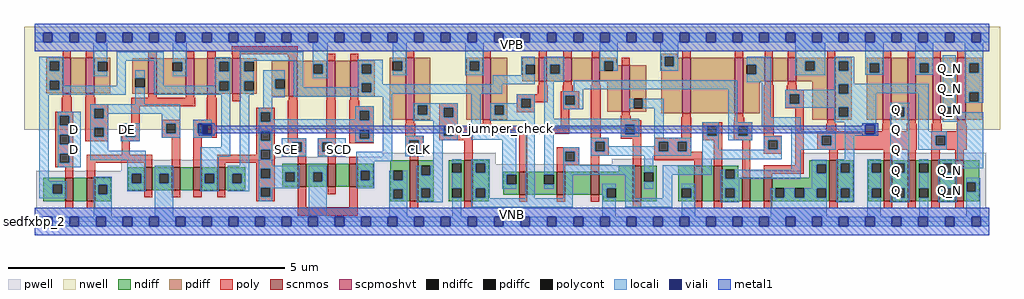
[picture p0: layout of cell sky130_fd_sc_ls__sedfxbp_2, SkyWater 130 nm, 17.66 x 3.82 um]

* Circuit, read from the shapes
.subckt sky130_fd_sc_ls__sedfxbp_2 CLK D DE SCD SCE VGND VNB VPB VPWR Q Q_N
XM1 n1 D n2 VNB sky130_fd_pr__nfet_01v8 w=0.42 l=0.15
XM2 VGND DE n1 VNB sky130_fd_pr__nfet_01v8 w=0.42 l=0.15
XM3 VGND DE n3 VNB sky130_fd_pr__nfet_01v8 w=0.42 l=0.15
XM4 n4 n3 VGND VNB sky130_fd_pr__nfet_01v8 w=0.42 l=0.15
XM5 n2 n5 n4 VNB sky130_fd_pr__nfet_01v8 w=0.42 l=0.15
XM6 n6 n7 n2 VNB sky130_fd_pr__nfet_01v8 w=0.42 l=0.15
XM7 VGND SCE n7 VNB sky130_fd_pr__nfet_01v8 w=0.42 l=0.15
XM8 n8 SCD VGND VNB sky130_fd_pr__nfet_01v8 w=0.42 l=0.15
XM9 n6 SCE n8 VNB sky130_fd_pr__nfet_01v8 w=0.42 l=0.15
XM10 n9 CLK VGND VNB sky130_fd_pr__nfet_01v8 w=0.74 l=0.15
XM11 n10 n9 VGND VNB sky130_fd_pr__nfet_01v8 w=0.74 l=0.15
XM12 n11 n9 n6 VNB sky130_fd_pr__nfet_01v8 w=0.42 l=0.15
XM13 n12 n10 n11 VNB sky130_fd_pr__nfet_01v8 w=0.42 l=0.15
XM14 VGND n13 n12 VNB sky130_fd_pr__nfet_01v8 w=0.42 l=0.15
XM15 n13 n11 VGND VNB sky130_fd_pr__nfet_01v8 w=0.64 l=0.15
XM16 n14 n13 VGND VNB sky130_fd_pr__nfet_01v8 w=0.64 l=0.15
XM17 n15 n10 n14 VNB sky130_fd_pr__nfet_01v8 w=0.64 l=0.15
XM18 n16 n9 n15 VNB sky130_fd_pr__nfet_01v8 w=0.42 l=0.15
XM19 VGND n5 n16 VNB sky130_fd_pr__nfet_01v8 w=0.42 l=0.15
XM20 n5 n15 VGND VNB sky130_fd_pr__nfet_01v8 w=0.74 l=0.15
XM21 Q n15 VGND VNB sky130_fd_pr__nfet_01v8 w=0.74 l=0.15 m=2
XM22 Q_N n5 VGND VNB sky130_fd_pr__nfet_01v8 w=0.74 l=0.15 m=2
XM23 n17 D n2 VPB sky130_fd_pr__pfet_01v8_hvt w=0.64 l=0.15
XM24 VPWR n3 n17 VPB sky130_fd_pr__pfet_01v8_hvt w=0.64 l=0.15
XM25 VPWR DE n3 VPB sky130_fd_pr__pfet_01v8_hvt w=0.64 l=0.15
XM26 n18 DE VPWR VPB sky130_fd_pr__pfet_01v8_hvt w=0.64 l=0.15
XM27 n2 n5 n18 VPB sky130_fd_pr__pfet_01v8_hvt w=0.64 l=0.15
XM28 n6 SCE n2 VPB sky130_fd_pr__pfet_01v8_hvt w=0.64 l=0.15
XM29 VPWR SCE n7 VPB sky130_fd_pr__pfet_01v8_hvt w=0.64 l=0.15
XM30 n19 SCD VPWR VPB sky130_fd_pr__pfet_01v8_hvt w=0.64 l=0.15
XM31 n6 n7 n19 VPB sky130_fd_pr__pfet_01v8_hvt w=0.64 l=0.15
XM32 n9 CLK VPWR VPB sky130_fd_pr__pfet_01v8_hvt w=1.12 l=0.15
XM33 n10 n9 VPWR VPB sky130_fd_pr__pfet_01v8_hvt w=1.12 l=0.15
XM34 n11 n10 n6 VPB sky130_fd_pr__pfet_01v8_hvt w=0.42 l=0.15
XM35 n20 n9 n11 VPB sky130_fd_pr__pfet_01v8_hvt w=0.42 l=0.15
XM36 VPWR n13 n20 VPB sky130_fd_pr__pfet_01v8_hvt w=0.42 l=0.15
XM37 n13 n11 VPWR VPB sky130_fd_pr__pfet_01v8_hvt w=0.84 l=0.15
XM38 n21 n13 VPWR VPB sky130_fd_pr__pfet_01v8_hvt w=1 l=0.15
XM39 n15 n9 n21 VPB sky130_fd_pr__pfet_01v8_hvt w=1 l=0.15
XM40 n22 n10 n15 VPB sky130_fd_pr__pfet_01v8_hvt w=0.42 l=0.15
XM41 VPWR n5 n22 VPB sky130_fd_pr__pfet_01v8_hvt w=0.42 l=0.15
XM42 n5 n15 VPWR VPB sky130_fd_pr__pfet_01v8_hvt w=1.12 l=0.15
XM43 Q n15 VPWR VPB sky130_fd_pr__pfet_01v8_hvt w=1.12 l=0.15 m=2
XM44 Q_N n5 VPWR VPB sky130_fd_pr__pfet_01v8_hvt w=1.12 l=0.15 m=2
.ends

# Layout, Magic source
magic
tech sky130A
magscale 1 2
<< nwell >>
rect -38 332 3494 704
<< pwell >>
rect 1261 235 1669 248
rect 870 223 1669 235
rect 314 207 1669 223
rect 2089 207 2572 228
rect 314 184 2572 207
rect 2777 184 3445 248
rect 6 49 3445 184
rect 0 0 3456 49
<< scnmos >>
rect 111 74 141 158
rect 189 74 219 158
rect 397 113 427 197
rect 497 113 527 197
rect 575 113 605 197
rect 661 113 691 197
rect 953 125 983 209
rect 1061 125 1091 209
rect 1139 125 1169 209
rect 1358 74 1388 222
rect 1556 74 1586 222
rect 1754 97 1784 181
rect 1890 97 1920 181
rect 2013 97 2043 181
rect 2165 74 2195 202
rect 2387 74 2417 202
rect 2459 74 2489 202
rect 2561 74 2591 158
rect 2639 74 2669 158
rect 2876 74 2906 222
rect 3074 74 3104 222
rect 3160 74 3190 222
rect 3246 74 3276 222
rect 3332 74 3362 222
<< scpmoshvt >>
rect 102 464 132 592
rect 186 464 216 592
rect 412 462 442 590
rect 548 462 578 590
rect 626 462 656 590
rect 716 462 746 590
rect 920 453 950 581
rect 1058 453 1088 581
rect 1142 453 1172 581
rect 1344 368 1374 592
rect 1622 368 1652 592
rect 1824 508 1854 592
rect 1914 508 1944 592
rect 2016 508 2046 592
rect 2125 398 2155 566
rect 2344 392 2374 592
rect 2535 392 2565 592
rect 2642 508 2672 592
rect 2726 508 2756 592
rect 2868 368 2898 592
rect 3070 368 3100 592
rect 3160 368 3190 592
rect 3250 368 3280 592
rect 3340 368 3370 592
<< ndiff >>
rect 340 172 397 197
rect 32 134 111 158
rect 32 100 66 134
rect 100 100 111 134
rect 32 74 111 100
rect 141 74 189 158
rect 219 133 276 158
rect 219 99 230 133
rect 264 99 276 133
rect 340 138 352 172
rect 386 138 397 172
rect 340 113 397 138
rect 427 172 497 197
rect 427 138 452 172
rect 486 138 497 172
rect 427 113 497 138
rect 527 113 575 197
rect 605 172 661 197
rect 605 138 616 172
rect 650 138 661 172
rect 605 113 661 138
rect 691 172 762 197
rect 691 138 716 172
rect 750 138 762 172
rect 691 113 762 138
rect 896 178 953 209
rect 896 144 908 178
rect 942 144 953 178
rect 896 125 953 144
rect 983 178 1061 209
rect 983 144 1008 178
rect 1042 144 1061 178
rect 983 125 1061 144
rect 1091 125 1139 209
rect 1169 184 1226 209
rect 1169 150 1180 184
rect 1214 150 1226 184
rect 1169 125 1226 150
rect 1287 184 1358 222
rect 1287 150 1299 184
rect 1333 150 1358 184
rect 219 74 276 99
rect 1287 116 1358 150
rect 1287 82 1299 116
rect 1333 82 1358 116
rect 1287 74 1358 82
rect 1388 202 1445 222
rect 1388 168 1399 202
rect 1433 168 1445 202
rect 1388 120 1445 168
rect 1388 86 1399 120
rect 1433 86 1445 120
rect 1388 74 1445 86
rect 1499 210 1556 222
rect 1499 176 1511 210
rect 1545 176 1556 210
rect 1499 120 1556 176
rect 1499 86 1511 120
rect 1545 86 1556 120
rect 1499 74 1556 86
rect 1586 210 1643 222
rect 1586 176 1597 210
rect 1631 176 1643 210
rect 2115 181 2165 202
rect 1586 120 1643 176
rect 1586 86 1597 120
rect 1631 86 1643 120
rect 1697 169 1754 181
rect 1697 135 1709 169
rect 1743 135 1754 169
rect 1697 97 1754 135
rect 1784 169 1890 181
rect 1784 135 1845 169
rect 1879 135 1890 169
rect 1784 97 1890 135
rect 1920 97 2013 181
rect 2043 120 2165 181
rect 2043 97 2070 120
rect 1586 74 1643 86
rect 2058 86 2070 97
rect 2104 86 2165 120
rect 2058 74 2165 86
rect 2195 178 2252 202
rect 2195 144 2206 178
rect 2240 144 2252 178
rect 2195 74 2252 144
rect 2330 120 2387 202
rect 2330 86 2342 120
rect 2376 86 2387 120
rect 2330 74 2387 86
rect 2417 74 2459 202
rect 2489 188 2546 202
rect 2489 154 2500 188
rect 2534 158 2546 188
rect 2803 208 2876 222
rect 2803 174 2831 208
rect 2865 174 2876 208
rect 2803 158 2876 174
rect 2534 154 2561 158
rect 2489 120 2561 154
rect 2489 86 2500 120
rect 2534 86 2561 120
rect 2489 74 2561 86
rect 2591 74 2639 158
rect 2669 120 2876 158
rect 2669 86 2680 120
rect 2714 86 2752 120
rect 2786 86 2831 120
rect 2865 86 2876 120
rect 2669 74 2876 86
rect 2906 210 2963 222
rect 2906 176 2917 210
rect 2951 176 2963 210
rect 2906 120 2963 176
rect 2906 86 2917 120
rect 2951 86 2963 120
rect 2906 74 2963 86
rect 3017 210 3074 222
rect 3017 176 3029 210
rect 3063 176 3074 210
rect 3017 120 3074 176
rect 3017 86 3029 120
rect 3063 86 3074 120
rect 3017 74 3074 86
rect 3104 210 3160 222
rect 3104 176 3115 210
rect 3149 176 3160 210
rect 3104 120 3160 176
rect 3104 86 3115 120
rect 3149 86 3160 120
rect 3104 74 3160 86
rect 3190 210 3246 222
rect 3190 176 3201 210
rect 3235 176 3246 210
rect 3190 120 3246 176
rect 3190 86 3201 120
rect 3235 86 3246 120
rect 3190 74 3246 86
rect 3276 210 3332 222
rect 3276 176 3287 210
rect 3321 176 3332 210
rect 3276 120 3332 176
rect 3276 86 3287 120
rect 3321 86 3332 120
rect 3276 74 3332 86
rect 3362 142 3419 222
rect 3362 108 3373 142
rect 3407 108 3419 142
rect 3362 74 3419 108
<< pdiff >>
rect 43 580 102 592
rect 43 546 55 580
rect 89 546 102 580
rect 43 510 102 546
rect 43 476 55 510
rect 89 476 102 510
rect 43 464 102 476
rect 132 464 186 592
rect 216 578 275 592
rect 216 544 229 578
rect 263 544 275 578
rect 216 464 275 544
rect 353 519 412 590
rect 353 485 365 519
rect 399 485 412 519
rect 353 462 412 485
rect 442 577 548 590
rect 442 543 501 577
rect 535 543 548 577
rect 442 462 548 543
rect 578 462 626 590
rect 656 578 716 590
rect 656 544 669 578
rect 703 544 716 578
rect 656 508 716 544
rect 656 474 669 508
rect 703 474 716 508
rect 656 462 716 474
rect 746 578 805 590
rect 2268 596 2326 608
rect 746 544 759 578
rect 793 544 805 578
rect 746 508 805 544
rect 746 474 759 508
rect 793 474 805 508
rect 746 462 805 474
rect 859 515 920 581
rect 859 481 871 515
rect 905 481 920 515
rect 859 453 920 481
rect 950 569 1058 581
rect 950 535 1009 569
rect 1043 535 1058 569
rect 950 453 1058 535
rect 1088 453 1142 581
rect 1172 569 1231 581
rect 1172 535 1185 569
rect 1219 535 1231 569
rect 1172 501 1231 535
rect 1172 467 1185 501
rect 1219 467 1231 501
rect 1172 453 1231 467
rect 1285 580 1344 592
rect 1285 546 1297 580
rect 1331 546 1344 580
rect 1285 368 1344 546
rect 1374 421 1433 592
rect 1563 580 1622 592
rect 1563 546 1575 580
rect 1609 546 1622 580
rect 1374 387 1387 421
rect 1421 387 1433 421
rect 1374 368 1433 387
rect 1563 368 1622 546
rect 1652 421 1711 592
rect 1765 567 1824 592
rect 1765 533 1777 567
rect 1811 533 1824 567
rect 1765 508 1824 533
rect 1854 568 1914 592
rect 1854 534 1867 568
rect 1901 534 1914 568
rect 1854 508 1914 534
rect 1944 508 2016 592
rect 2046 580 2107 592
rect 2046 546 2061 580
rect 2095 566 2107 580
rect 2095 546 2125 566
rect 2046 508 2125 546
rect 1652 387 1665 421
rect 1699 387 1711 421
rect 1652 368 1711 387
rect 2072 398 2125 508
rect 2155 444 2214 566
rect 2155 410 2168 444
rect 2202 410 2214 444
rect 2155 398 2214 410
rect 2268 562 2280 596
rect 2314 592 2326 596
rect 2314 562 2344 592
rect 2268 392 2344 562
rect 2374 392 2535 592
rect 2565 567 2642 592
rect 2565 533 2578 567
rect 2612 533 2642 567
rect 2565 508 2642 533
rect 2672 508 2726 592
rect 2756 580 2868 592
rect 2756 546 2790 580
rect 2824 546 2868 580
rect 2756 508 2868 546
rect 2565 392 2624 508
rect 2815 368 2868 508
rect 2898 580 2957 592
rect 2898 546 2911 580
rect 2945 546 2957 580
rect 2898 497 2957 546
rect 2898 463 2911 497
rect 2945 463 2957 497
rect 2898 414 2957 463
rect 2898 380 2911 414
rect 2945 380 2957 414
rect 2898 368 2957 380
rect 3011 573 3070 592
rect 3011 539 3023 573
rect 3057 539 3070 573
rect 3011 368 3070 539
rect 3100 414 3160 592
rect 3100 380 3113 414
rect 3147 380 3160 414
rect 3100 368 3160 380
rect 3190 573 3250 592
rect 3190 539 3203 573
rect 3237 539 3250 573
rect 3190 368 3250 539
rect 3280 414 3340 592
rect 3280 380 3293 414
rect 3327 380 3340 414
rect 3280 368 3340 380
rect 3370 573 3429 592
rect 3370 539 3383 573
rect 3417 539 3429 573
rect 3370 467 3429 539
rect 3370 433 3383 467
rect 3417 433 3429 467
rect 3370 368 3429 433
<< ndiffc >>
rect 66 100 100 134
rect 230 99 264 133
rect 352 138 386 172
rect 452 138 486 172
rect 616 138 650 172
rect 716 138 750 172
rect 908 144 942 178
rect 1008 144 1042 178
rect 1180 150 1214 184
rect 1299 150 1333 184
rect 1299 82 1333 116
rect 1399 168 1433 202
rect 1399 86 1433 120
rect 1511 176 1545 210
rect 1511 86 1545 120
rect 1597 176 1631 210
rect 1597 86 1631 120
rect 1709 135 1743 169
rect 1845 135 1879 169
rect 2070 86 2104 120
rect 2206 144 2240 178
rect 2342 86 2376 120
rect 2500 154 2534 188
rect 2831 174 2865 208
rect 2500 86 2534 120
rect 2680 86 2714 120
rect 2752 86 2786 120
rect 2831 86 2865 120
rect 2917 176 2951 210
rect 2917 86 2951 120
rect 3029 176 3063 210
rect 3029 86 3063 120
rect 3115 176 3149 210
rect 3115 86 3149 120
rect 3201 176 3235 210
rect 3201 86 3235 120
rect 3287 176 3321 210
rect 3287 86 3321 120
rect 3373 108 3407 142
<< pdiffc >>
rect 55 546 89 580
rect 55 476 89 510
rect 229 544 263 578
rect 365 485 399 519
rect 501 543 535 577
rect 669 544 703 578
rect 669 474 703 508
rect 759 544 793 578
rect 759 474 793 508
rect 871 481 905 515
rect 1009 535 1043 569
rect 1185 535 1219 569
rect 1185 467 1219 501
rect 1297 546 1331 580
rect 1575 546 1609 580
rect 1387 387 1421 421
rect 1777 533 1811 567
rect 1867 534 1901 568
rect 2061 546 2095 580
rect 1665 387 1699 421
rect 2168 410 2202 444
rect 2280 562 2314 596
rect 2578 533 2612 567
rect 2790 546 2824 580
rect 2911 546 2945 580
rect 2911 463 2945 497
rect 2911 380 2945 414
rect 3023 539 3057 573
rect 3113 380 3147 414
rect 3203 539 3237 573
rect 3293 380 3327 414
rect 3383 539 3417 573
rect 3383 433 3417 467
<< poly >>
rect 102 592 132 618
rect 186 592 216 618
rect 412 590 442 616
rect 548 590 578 616
rect 626 590 656 616
rect 713 605 953 635
rect 716 590 746 605
rect 917 596 953 605
rect 102 449 132 464
rect 186 449 216 464
rect 920 581 950 596
rect 1058 581 1088 607
rect 1142 581 1172 607
rect 1344 592 1374 618
rect 1622 592 1652 618
rect 1824 592 1854 618
rect 1914 592 1944 618
rect 2016 592 2046 618
rect 99 398 135 449
rect 183 424 219 449
rect 412 447 442 462
rect 548 447 578 462
rect 626 447 656 462
rect 183 408 267 424
rect 75 382 141 398
rect 75 348 91 382
rect 125 348 141 382
rect 75 314 141 348
rect 75 280 91 314
rect 125 280 141 314
rect 183 374 217 408
rect 251 374 267 408
rect 183 340 267 374
rect 351 417 581 447
rect 351 356 381 417
rect 623 369 659 447
rect 716 436 746 462
rect 920 438 950 453
rect 1058 438 1088 453
rect 1142 438 1172 453
rect 183 306 217 340
rect 251 306 267 340
rect 183 290 267 306
rect 315 340 381 356
rect 315 306 331 340
rect 365 306 381 340
rect 315 290 381 306
rect 461 353 527 369
rect 461 319 477 353
rect 511 319 527 353
rect 461 303 527 319
rect 75 246 141 280
rect 75 212 91 246
rect 125 212 141 246
rect 315 242 345 290
rect 75 196 141 212
rect 111 158 141 196
rect 189 212 427 242
rect 189 158 219 212
rect 397 197 427 212
rect 497 197 527 303
rect 575 353 659 369
rect 575 319 591 353
rect 625 319 659 353
rect 575 303 659 319
rect 803 395 869 411
rect 803 361 819 395
rect 853 361 869 395
rect 803 327 869 361
rect 575 197 605 303
rect 803 293 819 327
rect 853 293 869 327
rect 803 259 869 293
rect 803 242 819 259
rect 661 225 819 242
rect 853 225 869 259
rect 917 302 953 438
rect 1055 302 1091 438
rect 917 286 983 302
rect 917 252 933 286
rect 967 252 983 286
rect 917 236 983 252
rect 1025 286 1091 302
rect 1025 252 1041 286
rect 1075 252 1091 286
rect 1139 417 1175 438
rect 1139 401 1227 417
rect 1139 367 1177 401
rect 1211 367 1227 401
rect 1465 412 1531 428
rect 1465 378 1481 412
rect 1515 378 1531 412
rect 1139 333 1227 367
rect 1344 353 1374 368
rect 1139 299 1177 333
rect 1211 299 1227 333
rect 1139 283 1227 299
rect 1341 310 1377 353
rect 1465 347 1531 378
rect 2125 566 2155 592
rect 1824 493 1854 508
rect 1914 493 1944 508
rect 2016 493 2046 508
rect 1821 461 1857 493
rect 1911 472 1947 493
rect 1745 445 1857 461
rect 1745 411 1761 445
rect 1795 431 1857 445
rect 1905 456 1971 472
rect 1795 411 1811 431
rect 1745 395 1811 411
rect 1905 422 1921 456
rect 1955 422 1971 456
rect 1905 406 1971 422
rect 1622 353 1652 368
rect 1619 347 1655 353
rect 1905 347 1935 406
rect 1465 344 1935 347
rect 1465 310 1481 344
rect 1515 317 1935 344
rect 1515 310 1586 317
rect 1341 294 1407 310
rect 1465 294 1586 310
rect 1025 236 1091 252
rect 1341 260 1357 294
rect 1391 260 1407 294
rect 1341 244 1407 260
rect 661 212 869 225
rect 661 197 691 212
rect 803 191 869 212
rect 953 209 983 236
rect 1061 209 1091 236
rect 1139 209 1169 235
rect 1358 222 1388 244
rect 1556 222 1586 294
rect 803 157 819 191
rect 853 157 869 191
rect 803 123 869 157
rect 397 87 427 113
rect 497 87 527 113
rect 575 87 605 113
rect 661 87 691 113
rect 803 89 819 123
rect 853 89 869 123
rect 111 48 141 74
rect 189 48 219 74
rect 803 73 869 89
rect 953 51 983 125
rect 1061 99 1091 125
rect 1139 51 1169 125
rect 1754 181 1784 317
rect 2013 304 2049 493
rect 2344 592 2374 618
rect 2535 592 2565 618
rect 2642 592 2672 618
rect 2726 592 2756 618
rect 2868 592 2898 618
rect 3070 592 3100 618
rect 3160 592 3190 618
rect 3250 592 3280 618
rect 3340 592 3370 618
rect 2125 383 2155 398
rect 2642 493 2672 508
rect 2726 493 2756 508
rect 2122 366 2158 383
rect 2344 377 2374 392
rect 2535 377 2565 392
rect 2122 350 2195 366
rect 2122 316 2138 350
rect 2172 316 2195 350
rect 2013 288 2079 304
rect 2122 300 2195 316
rect 2341 304 2377 377
rect 2532 360 2568 377
rect 1890 253 1971 269
rect 1890 219 1921 253
rect 1955 219 1971 253
rect 1890 203 1971 219
rect 2013 254 2029 288
rect 2063 254 2079 288
rect 2013 238 2079 254
rect 1890 181 1920 203
rect 2013 181 2043 238
rect 2165 202 2195 300
rect 2243 288 2377 304
rect 2419 344 2489 360
rect 2419 310 2435 344
rect 2469 310 2489 344
rect 2419 294 2489 310
rect 2531 344 2597 360
rect 2531 310 2547 344
rect 2581 310 2597 344
rect 2531 294 2597 310
rect 2639 311 2675 493
rect 2723 476 2759 493
rect 2717 460 2783 476
rect 2717 426 2733 460
rect 2767 426 2783 460
rect 2717 410 2783 426
rect 2639 295 2705 311
rect 2243 254 2259 288
rect 2293 254 2327 288
rect 2361 254 2377 288
rect 2243 252 2377 254
rect 2243 222 2417 252
rect 2387 202 2417 222
rect 2459 202 2489 294
rect 953 21 1169 51
rect 1358 48 1388 74
rect 1556 48 1586 74
rect 1754 71 1784 97
rect 1890 71 1920 97
rect 2013 71 2043 97
rect 2561 158 2591 294
rect 2639 261 2655 295
rect 2689 261 2705 295
rect 2639 245 2705 261
rect 2753 203 2783 410
rect 2868 353 2898 368
rect 3070 353 3100 368
rect 3160 353 3190 368
rect 3250 353 3280 368
rect 3340 353 3370 368
rect 2865 326 2901 353
rect 3067 326 3103 353
rect 3157 326 3193 353
rect 3247 327 3283 353
rect 2833 310 3193 326
rect 2833 276 2849 310
rect 2883 276 3193 310
rect 2833 260 3193 276
rect 3246 326 3283 327
rect 3337 326 3373 353
rect 3246 310 3373 326
rect 3246 276 3262 310
rect 3296 276 3373 310
rect 3246 260 3373 276
rect 2876 222 2906 260
rect 3074 222 3104 260
rect 3160 222 3190 260
rect 3246 222 3276 260
rect 3332 222 3362 260
rect 2639 173 2783 203
rect 2639 158 2669 173
rect 2165 48 2195 74
rect 2387 48 2417 74
rect 2459 48 2489 74
rect 2561 48 2591 74
rect 2639 48 2669 74
rect 2876 48 2906 74
rect 3074 48 3104 74
rect 3160 48 3190 74
rect 3246 48 3276 74
rect 3332 48 3362 74
<< polycont >>
rect 91 348 125 382
rect 91 280 125 314
rect 217 374 251 408
rect 217 306 251 340
rect 331 306 365 340
rect 477 319 511 353
rect 91 212 125 246
rect 591 319 625 353
rect 819 361 853 395
rect 819 293 853 327
rect 819 225 853 259
rect 933 252 967 286
rect 1041 252 1075 286
rect 1177 367 1211 401
rect 1481 378 1515 412
rect 1177 299 1211 333
rect 1761 411 1795 445
rect 1921 422 1955 456
rect 1481 310 1515 344
rect 1357 260 1391 294
rect 819 157 853 191
rect 819 89 853 123
rect 2138 316 2172 350
rect 1921 219 1955 253
rect 2029 254 2063 288
rect 2435 310 2469 344
rect 2547 310 2581 344
rect 2733 426 2767 460
rect 2259 254 2293 288
rect 2327 254 2361 288
rect 2655 261 2689 295
rect 2849 276 2883 310
rect 3262 276 3296 310
<< locali >>
rect 0 649 31 683
rect 65 649 127 683
rect 161 649 223 683
rect 257 649 319 683
rect 353 649 415 683
rect 449 649 511 683
rect 545 649 607 683
rect 641 649 703 683
rect 737 649 799 683
rect 833 649 895 683
rect 929 649 991 683
rect 1025 649 1087 683
rect 1121 649 1183 683
rect 1217 649 1279 683
rect 1313 649 1375 683
rect 1409 649 1471 683
rect 1505 649 1567 683
rect 1601 649 1663 683
rect 1697 649 1759 683
rect 1793 649 1855 683
rect 1889 649 1951 683
rect 1985 649 2047 683
rect 2081 649 2143 683
rect 2177 649 2239 683
rect 2273 649 2335 683
rect 2369 649 2431 683
rect 2465 649 2527 683
rect 2561 649 2623 683
rect 2657 649 2719 683
rect 2753 649 2815 683
rect 2849 649 2911 683
rect 2945 649 3007 683
rect 3041 649 3103 683
rect 3137 649 3199 683
rect 3233 649 3295 683
rect 3329 649 3391 683
rect 3425 649 3456 683
rect 17 580 105 596
rect 17 546 55 580
rect 89 546 105 580
rect 17 510 105 546
rect 213 578 263 649
rect 213 544 229 578
rect 213 526 263 544
rect 297 581 467 615
rect 17 476 55 510
rect 89 492 105 510
rect 297 492 331 581
rect 89 476 331 492
rect 17 458 331 476
rect 365 519 399 547
rect 17 146 51 458
rect 365 424 399 485
rect 433 492 467 581
rect 501 577 551 649
rect 535 543 551 577
rect 501 526 551 543
rect 653 578 709 594
rect 653 544 669 578
rect 703 544 709 578
rect 653 508 709 544
rect 653 492 669 508
rect 433 474 669 492
rect 703 474 709 508
rect 433 458 709 474
rect 201 408 527 424
rect 85 382 167 398
rect 85 348 91 382
rect 125 348 167 382
rect 85 314 167 348
rect 85 280 91 314
rect 125 280 167 314
rect 85 246 167 280
rect 85 212 91 246
rect 125 212 167 246
rect 201 374 217 408
rect 251 390 527 408
rect 251 374 267 390
rect 201 340 267 374
rect 201 306 217 340
rect 251 306 267 340
rect 201 256 267 306
rect 313 340 381 356
rect 313 306 331 340
rect 365 306 381 340
rect 313 290 381 306
rect 461 353 527 390
rect 461 319 477 353
rect 511 319 527 353
rect 461 303 527 319
rect 575 353 641 369
rect 575 319 591 353
rect 625 350 641 353
rect 575 316 607 319
rect 575 303 641 316
rect 675 269 709 458
rect 201 222 402 256
rect 85 196 167 212
rect 336 172 402 222
rect 600 235 709 269
rect 743 581 973 615
rect 743 578 793 581
rect 743 544 759 578
rect 743 508 793 544
rect 743 474 759 508
rect 743 458 793 474
rect 827 515 905 547
rect 827 481 871 515
rect 17 134 116 146
rect 17 100 66 134
rect 100 100 116 134
rect 17 84 116 100
rect 214 133 280 162
rect 214 99 230 133
rect 264 99 280 133
rect 336 138 352 172
rect 386 138 402 172
rect 336 109 402 138
rect 436 172 502 201
rect 436 138 452 172
rect 486 138 502 172
rect 214 17 280 99
rect 436 17 502 138
rect 600 172 666 235
rect 743 201 777 458
rect 827 449 905 481
rect 939 485 973 581
rect 1007 569 1061 649
rect 1007 535 1009 569
rect 1043 535 1061 569
rect 1007 519 1061 535
rect 1169 569 1261 585
rect 1169 535 1185 569
rect 1219 535 1261 569
rect 1169 501 1261 535
rect 1297 580 1347 649
rect 1331 546 1347 580
rect 1297 530 1347 546
rect 1559 580 1625 649
rect 1559 546 1575 580
rect 1609 546 1625 580
rect 1559 530 1625 546
rect 1761 567 1811 596
rect 1761 533 1777 567
rect 1761 530 1811 533
rect 1169 485 1185 501
rect 939 467 1185 485
rect 1219 496 1261 501
rect 1659 496 1811 530
rect 1845 568 1917 596
rect 1845 534 1867 568
rect 1901 534 1917 568
rect 2045 580 2111 649
rect 2045 546 2061 580
rect 2095 546 2111 580
rect 2264 596 2330 649
rect 2264 562 2280 596
rect 2314 562 2330 596
rect 2264 546 2330 562
rect 2578 567 2665 596
rect 1845 506 1917 534
rect 2612 533 2665 567
rect 1219 467 1693 496
rect 939 462 1693 467
rect 939 451 1295 462
rect 827 411 861 449
rect 600 138 616 172
rect 650 138 666 172
rect 600 109 666 138
rect 700 172 777 201
rect 700 138 716 172
rect 750 138 777 172
rect 700 109 777 138
rect 811 395 861 411
rect 811 361 819 395
rect 853 370 861 395
rect 1161 401 1227 417
rect 1161 370 1177 401
rect 853 367 1177 370
rect 1211 367 1227 401
rect 853 361 1227 367
rect 811 336 1227 361
rect 811 327 861 336
rect 811 293 819 327
rect 853 293 861 327
rect 1161 333 1227 336
rect 811 259 861 293
rect 811 225 819 259
rect 853 225 861 259
rect 895 286 983 302
rect 895 252 933 286
rect 967 252 983 286
rect 895 236 983 252
rect 1025 286 1127 302
rect 1161 299 1177 333
rect 1211 299 1227 333
rect 1161 286 1227 299
rect 1025 252 1041 286
rect 1075 252 1127 286
rect 1261 252 1295 451
rect 1371 421 1531 428
rect 1371 387 1387 421
rect 1421 412 1531 421
rect 1421 387 1481 412
rect 1371 378 1481 387
rect 1515 378 1531 412
rect 1371 364 1531 378
rect 1443 344 1531 364
rect 1443 310 1481 344
rect 1515 310 1531 344
rect 1025 236 1127 252
rect 811 202 861 225
rect 1164 218 1295 252
rect 1341 294 1409 310
rect 1341 260 1357 294
rect 1391 260 1409 294
rect 1341 236 1409 260
rect 1443 294 1531 310
rect 1581 330 1615 462
rect 1745 445 1811 461
rect 1745 428 1761 445
rect 1649 421 1761 428
rect 1649 387 1665 421
rect 1699 411 1761 421
rect 1795 411 1811 445
rect 1699 387 1811 411
rect 1649 364 1811 387
rect 1581 296 1743 330
rect 811 191 958 202
rect 811 157 819 191
rect 853 178 958 191
rect 853 157 908 178
rect 811 144 908 157
rect 942 144 958 178
rect 811 123 958 144
rect 811 89 819 123
rect 853 121 958 123
rect 992 178 1058 202
rect 992 144 1008 178
rect 1042 144 1058 178
rect 853 89 861 121
rect 811 73 861 89
rect 992 17 1058 144
rect 1164 184 1230 218
rect 1443 202 1477 294
rect 1164 150 1180 184
rect 1214 150 1230 184
rect 1164 121 1230 150
rect 1283 150 1299 184
rect 1333 150 1349 184
rect 1283 116 1349 150
rect 1283 82 1299 116
rect 1333 82 1349 116
rect 1283 17 1349 82
rect 1383 168 1399 202
rect 1433 168 1477 202
rect 1383 120 1477 168
rect 1383 86 1399 120
rect 1433 86 1477 120
rect 1383 70 1477 86
rect 1511 210 1545 226
rect 1511 120 1545 176
rect 1511 17 1545 86
rect 1581 210 1647 226
rect 1581 176 1597 210
rect 1631 176 1647 210
rect 1581 120 1647 176
rect 1581 86 1597 120
rect 1631 86 1647 120
rect 1693 169 1743 296
rect 1693 135 1709 169
rect 1693 119 1743 135
rect 1581 85 1647 86
rect 1777 85 1811 364
rect 1845 372 1879 506
rect 1951 478 2544 512
rect 2578 504 2665 533
rect 2753 580 2861 649
rect 2753 546 2790 580
rect 2824 546 2861 580
rect 2753 530 2861 546
rect 2895 580 2967 596
rect 2895 546 2911 580
rect 2945 546 2967 580
rect 1951 472 1985 478
rect 1913 456 1985 472
rect 1913 422 1921 456
rect 1955 422 1985 456
rect 1913 406 1985 422
rect 2152 410 2168 444
rect 2202 410 2277 444
rect 1845 350 2188 372
rect 1845 338 2138 350
rect 1845 169 1879 338
rect 2122 316 2138 338
rect 2172 316 2188 350
rect 2122 306 2188 316
rect 2243 304 2277 410
rect 2510 360 2544 478
rect 2631 377 2665 504
rect 2895 498 2967 546
rect 3007 573 3073 649
rect 3007 539 3023 573
rect 3057 539 3073 573
rect 3007 532 3073 539
rect 3187 573 3253 649
rect 3187 539 3203 573
rect 3237 539 3253 573
rect 3187 532 3253 539
rect 2895 497 3237 498
rect 2895 476 2911 497
rect 2717 463 2911 476
rect 2945 464 3237 497
rect 2945 463 3047 464
rect 2717 460 3047 463
rect 2717 426 2733 460
rect 2767 426 3047 460
rect 2717 414 3047 426
rect 2717 411 2911 414
rect 2895 380 2911 411
rect 2945 380 3047 414
rect 2416 344 2476 360
rect 2416 310 2435 344
rect 2469 310 2476 344
rect 2013 288 2079 304
rect 1845 119 1879 135
rect 1913 253 1971 269
rect 1913 219 1921 253
rect 1955 219 1971 253
rect 2013 254 2029 288
rect 2063 272 2079 288
rect 2243 288 2377 304
rect 2243 272 2259 288
rect 2063 254 2259 272
rect 2293 254 2327 288
rect 2361 254 2377 288
rect 2013 238 2377 254
rect 2416 260 2476 310
rect 2510 344 2597 360
rect 2510 310 2547 344
rect 2581 310 2597 344
rect 2631 343 2773 377
rect 2895 360 3047 380
rect 2510 294 2597 310
rect 2739 326 2773 343
rect 2933 350 3047 360
rect 2739 310 2899 326
rect 2639 295 2705 309
rect 2639 261 2655 295
rect 2689 261 2705 295
rect 2639 260 2705 261
rect 1913 204 1971 219
rect 1913 170 2172 204
rect 1913 85 1947 170
rect 1581 51 1947 85
rect 2054 120 2104 136
rect 2054 86 2070 120
rect 2054 17 2104 86
rect 2138 85 2172 170
rect 2206 178 2240 238
rect 2416 226 2705 260
rect 2739 276 2849 310
rect 2883 276 2899 310
rect 2739 260 2899 276
rect 2933 316 3007 350
rect 3041 316 3047 350
rect 2933 310 3047 316
rect 3097 414 3165 430
rect 3097 380 3113 414
rect 3147 380 3165 414
rect 2416 204 2450 226
rect 2206 119 2240 144
rect 2274 170 2450 204
rect 2739 188 2773 260
rect 2933 226 2967 310
rect 2274 85 2308 170
rect 2484 154 2500 188
rect 2534 154 2773 188
rect 2813 208 2867 224
rect 2813 174 2831 208
rect 2865 174 2867 208
rect 2138 51 2308 85
rect 2342 120 2392 136
rect 2376 86 2392 120
rect 2342 17 2392 86
rect 2484 120 2550 154
rect 2813 120 2867 174
rect 2484 86 2500 120
rect 2534 86 2550 120
rect 2484 70 2550 86
rect 2664 86 2680 120
rect 2714 86 2752 120
rect 2786 86 2831 120
rect 2865 86 2867 120
rect 2664 17 2867 86
rect 2901 210 2967 226
rect 2901 176 2917 210
rect 2951 176 2967 210
rect 2901 120 2967 176
rect 2901 86 2917 120
rect 2951 86 2967 120
rect 2901 70 2967 86
rect 3013 210 3063 226
rect 3013 176 3029 210
rect 3013 120 3063 176
rect 3013 86 3029 120
rect 3013 17 3063 86
rect 3097 210 3165 380
rect 3199 327 3237 464
rect 3287 414 3333 602
rect 3367 573 3433 649
rect 3367 539 3383 573
rect 3417 539 3433 573
rect 3367 467 3433 539
rect 3367 433 3383 467
rect 3417 433 3433 467
rect 3367 429 3433 433
rect 3287 380 3293 414
rect 3327 395 3333 414
rect 3327 380 3433 395
rect 3287 361 3433 380
rect 3199 310 3302 327
rect 3199 276 3262 310
rect 3296 276 3302 310
rect 3199 260 3302 276
rect 3340 226 3433 361
rect 3097 176 3115 210
rect 3149 176 3165 210
rect 3097 120 3165 176
rect 3097 86 3115 120
rect 3149 86 3165 120
rect 3097 70 3165 86
rect 3201 210 3235 226
rect 3201 120 3235 176
rect 3201 17 3235 86
rect 3271 210 3433 226
rect 3271 176 3287 210
rect 3321 192 3433 210
rect 3321 176 3337 192
rect 3271 120 3337 176
rect 3271 86 3287 120
rect 3321 86 3337 120
rect 3271 70 3337 86
rect 3371 142 3423 158
rect 3371 108 3373 142
rect 3407 108 3423 142
rect 3371 17 3423 108
rect 0 -17 31 17
rect 65 -17 127 17
rect 161 -17 223 17
rect 257 -17 319 17
rect 353 -17 415 17
rect 449 -17 511 17
rect 545 -17 607 17
rect 641 -17 703 17
rect 737 -17 799 17
rect 833 -17 895 17
rect 929 -17 991 17
rect 1025 -17 1087 17
rect 1121 -17 1183 17
rect 1217 -17 1279 17
rect 1313 -17 1375 17
rect 1409 -17 1471 17
rect 1505 -17 1567 17
rect 1601 -17 1663 17
rect 1697 -17 1759 17
rect 1793 -17 1855 17
rect 1889 -17 1951 17
rect 1985 -17 2047 17
rect 2081 -17 2143 17
rect 2177 -17 2239 17
rect 2273 -17 2335 17
rect 2369 -17 2431 17
rect 2465 -17 2527 17
rect 2561 -17 2623 17
rect 2657 -17 2719 17
rect 2753 -17 2815 17
rect 2849 -17 2911 17
rect 2945 -17 3007 17
rect 3041 -17 3103 17
rect 3137 -17 3199 17
rect 3233 -17 3295 17
rect 3329 -17 3391 17
rect 3425 -17 3456 17
<< viali >>
rect 31 649 65 683
rect 127 649 161 683
rect 223 649 257 683
rect 319 649 353 683
rect 415 649 449 683
rect 511 649 545 683
rect 607 649 641 683
rect 703 649 737 683
rect 799 649 833 683
rect 895 649 929 683
rect 991 649 1025 683
rect 1087 649 1121 683
rect 1183 649 1217 683
rect 1279 649 1313 683
rect 1375 649 1409 683
rect 1471 649 1505 683
rect 1567 649 1601 683
rect 1663 649 1697 683
rect 1759 649 1793 683
rect 1855 649 1889 683
rect 1951 649 1985 683
rect 2047 649 2081 683
rect 2143 649 2177 683
rect 2239 649 2273 683
rect 2335 649 2369 683
rect 2431 649 2465 683
rect 2527 649 2561 683
rect 2623 649 2657 683
rect 2719 649 2753 683
rect 2815 649 2849 683
rect 2911 649 2945 683
rect 3007 649 3041 683
rect 3103 649 3137 683
rect 3199 649 3233 683
rect 3295 649 3329 683
rect 3391 649 3425 683
rect 607 319 625 350
rect 625 319 641 350
rect 607 316 641 319
rect 3007 316 3041 350
rect 31 -17 65 17
rect 127 -17 161 17
rect 223 -17 257 17
rect 319 -17 353 17
rect 415 -17 449 17
rect 511 -17 545 17
rect 607 -17 641 17
rect 703 -17 737 17
rect 799 -17 833 17
rect 895 -17 929 17
rect 991 -17 1025 17
rect 1087 -17 1121 17
rect 1183 -17 1217 17
rect 1279 -17 1313 17
rect 1375 -17 1409 17
rect 1471 -17 1505 17
rect 1567 -17 1601 17
rect 1663 -17 1697 17
rect 1759 -17 1793 17
rect 1855 -17 1889 17
rect 1951 -17 1985 17
rect 2047 -17 2081 17
rect 2143 -17 2177 17
rect 2239 -17 2273 17
rect 2335 -17 2369 17
rect 2431 -17 2465 17
rect 2527 -17 2561 17
rect 2623 -17 2657 17
rect 2719 -17 2753 17
rect 2815 -17 2849 17
rect 2911 -17 2945 17
rect 3007 -17 3041 17
rect 3103 -17 3137 17
rect 3199 -17 3233 17
rect 3295 -17 3329 17
rect 3391 -17 3425 17
<< metal1 >>
rect 0 683 3456 715
rect 0 649 31 683
rect 65 649 127 683
rect 161 649 223 683
rect 257 649 319 683
rect 353 649 415 683
rect 449 649 511 683
rect 545 649 607 683
rect 641 649 703 683
rect 737 649 799 683
rect 833 649 895 683
rect 929 649 991 683
rect 1025 649 1087 683
rect 1121 649 1183 683
rect 1217 649 1279 683
rect 1313 649 1375 683
rect 1409 649 1471 683
rect 1505 649 1567 683
rect 1601 649 1663 683
rect 1697 649 1759 683
rect 1793 649 1855 683
rect 1889 649 1951 683
rect 1985 649 2047 683
rect 2081 649 2143 683
rect 2177 649 2239 683
rect 2273 649 2335 683
rect 2369 649 2431 683
rect 2465 649 2527 683
rect 2561 649 2623 683
rect 2657 649 2719 683
rect 2753 649 2815 683
rect 2849 649 2911 683
rect 2945 649 3007 683
rect 3041 649 3103 683
rect 3137 649 3199 683
rect 3233 649 3295 683
rect 3329 649 3391 683
rect 3425 649 3456 683
rect 0 617 3456 649
rect 595 350 653 356
rect 595 316 607 350
rect 641 347 653 350
rect 2995 350 3053 356
rect 2995 347 3007 350
rect 641 319 3007 347
rect 641 316 653 319
rect 595 310 653 316
rect 2995 316 3007 319
rect 3041 316 3053 350
rect 2995 310 3053 316
rect 0 17 3456 49
rect 0 -17 31 17
rect 65 -17 127 17
rect 161 -17 223 17
rect 257 -17 319 17
rect 353 -17 415 17
rect 449 -17 511 17
rect 545 -17 607 17
rect 641 -17 703 17
rect 737 -17 799 17
rect 833 -17 895 17
rect 929 -17 991 17
rect 1025 -17 1087 17
rect 1121 -17 1183 17
rect 1217 -17 1279 17
rect 1313 -17 1375 17
rect 1409 -17 1471 17
rect 1505 -17 1567 17
rect 1601 -17 1663 17
rect 1697 -17 1759 17
rect 1793 -17 1855 17
rect 1889 -17 1951 17
rect 1985 -17 2047 17
rect 2081 -17 2143 17
rect 2177 -17 2239 17
rect 2273 -17 2335 17
rect 2369 -17 2431 17
rect 2465 -17 2527 17
rect 2561 -17 2623 17
rect 2657 -17 2719 17
rect 2753 -17 2815 17
rect 2849 -17 2911 17
rect 2945 -17 3007 17
rect 3041 -17 3103 17
rect 3137 -17 3199 17
rect 3233 -17 3295 17
rect 3329 -17 3391 17
rect 3425 -17 3456 17
rect 0 -49 3456 -17
<< labels >>
rlabel comment s 0 0 0 0 4 sedfxbp_2
flabel comment s 1687 337 1687 337 0 FreeSans 200 0 0 0 no_jumper_check
flabel pwell s 0 0 3456 49 0 FreeSans 200 0 0 0 VNB
port 7 nsew ground bidirectional
flabel nwell s 0 617 3456 666 0 FreeSans 200 0 0 0 VPB
port 8 nsew power bidirectional
flabel metal1 s 0 617 3456 666 0 FreeSans 340 0 0 0 VPWR
port 9 nsew power bidirectional abutment
flabel metal1 s 0 0 3456 49 0 FreeSans 340 0 0 0 VGND
port 6 nsew ground bidirectional abutment
flabel locali s 3103 94 3137 128 0 FreeSans 340 0 0 0 Q
port 10 nsew signal output
flabel locali s 3103 168 3137 202 0 FreeSans 340 0 0 0 Q
port 10 nsew signal output
flabel locali s 3103 242 3137 276 0 FreeSans 340 0 0 0 Q
port 10 nsew signal output
flabel locali s 3103 316 3137 350 0 FreeSans 340 0 0 0 Q
port 10 nsew signal output
flabel locali s 3103 390 3137 424 0 FreeSans 340 0 0 0 Q
port 10 nsew signal output
flabel locali s 3295 94 3329 128 0 FreeSans 340 0 0 0 Q_N
port 11 nsew signal output
flabel locali s 3295 168 3329 202 0 FreeSans 340 0 0 0 Q_N
port 11 nsew signal output
flabel locali s 3295 390 3329 424 0 FreeSans 340 0 0 0 Q_N
port 11 nsew signal output
flabel locali s 3295 464 3329 498 0 FreeSans 340 0 0 0 Q_N
port 11 nsew signal output
flabel locali s 3295 538 3329 572 0 FreeSans 340 0 0 0 Q_N
port 11 nsew signal output
flabel locali s 127 242 161 276 0 FreeSans 340 0 0 0 D
port 2 nsew signal input
flabel locali s 127 316 161 350 0 FreeSans 340 0 0 0 D
port 2 nsew signal input
flabel locali s 1375 242 1409 276 0 FreeSans 340 0 0 0 CLK
port 1 nsew clock input
flabel locali s 1087 242 1121 276 0 FreeSans 340 0 0 0 SCD
port 4 nsew signal input
flabel locali s 895 242 929 276 0 FreeSans 340 0 0 0 SCE
port 5 nsew signal input
flabel locali s 319 316 353 350 0 FreeSans 340 0 0 0 DE
port 3 nsew signal input
<< properties >>
string LEFsite unit
string LEFclass CORE
string FIXED_BBOX 0 0 3456 666
string GDS_FILE $PDKPATH/libs.ref/sky130_fd_sc_ls/gds/sky130_fd_sc_ls.gds
string LEFsymmetry X Y
string GDS_END 3768164
string GDS_START 3743976
<< end >>
